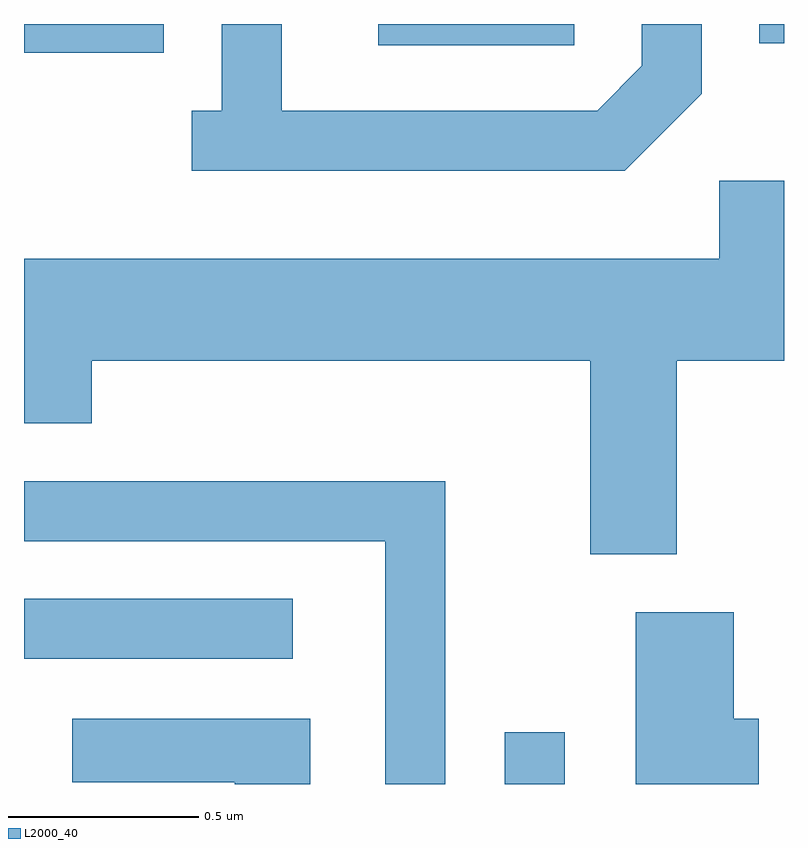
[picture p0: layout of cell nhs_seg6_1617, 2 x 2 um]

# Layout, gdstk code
import gdstk
lib = gdstk.Library(unit=1e-6, precision=1e-09)
def R(c, l, rs):  # rectangles x0, y0, x1, y1
    for r in rs: c.add(gdstk.rectangle(r[:2], r[2:], *l))
def P(c, l, *ps):  # polygons
    for p in ps: c.add(gdstk.Polygon(p, *l))
L2000_40 = (2000, 40)

nhs_seg6_1617 = lib.new_cell('nhs_seg6_1617')
R(nhs_seg6_1617, L2000_40, [(197.876,1642.162,198.034,1642.298), (196.611,1642.491,197.318,1642.649), (196.611,1644.086,196.979,1644.162), (197.543,1644.106,198.059,1644.162), (198.546,1644.111,198.611,1644.162)])
P(nhs_seg6_1617, L2000_40, [(198.394,1643.979),(198.394,1644.162),(198.236,1644.162),(198.236,1644.052),(198.119,1643.934),(197.289,1643.934),(197.289,1644.162),(197.131,1644.162),(197.131,1643.934),(197.053,1643.934),(197.053,1643.776),(198.192,1643.776)],
  [(198.329,1643.276),(198.611,1643.276),(198.611,1643.749),(198.441,1643.749),(198.441,1643.544),(196.611,1643.544),(196.611,1643.111),(196.789,1643.111),(196.789,1643.276),(198.101,1643.276),(198.101,1642.766),(198.329,1642.766)],
  [(197.719,1642.959),(196.611,1642.959),(196.611,1642.801),(197.561,1642.801),(197.561,1642.162),(197.719,1642.162)],
  [(198.544,1642.334),(198.479,1642.334),(198.479,1642.614),(198.221,1642.614),(198.221,1642.162),(198.544,1642.162)],
  [(197.364,1642.334),(196.738,1642.334),(196.738,1642.166),(197.166,1642.166),(197.166,1642.162),(197.364,1642.162)])

lib.write_gds('nhs_seg6_1617.gds')
